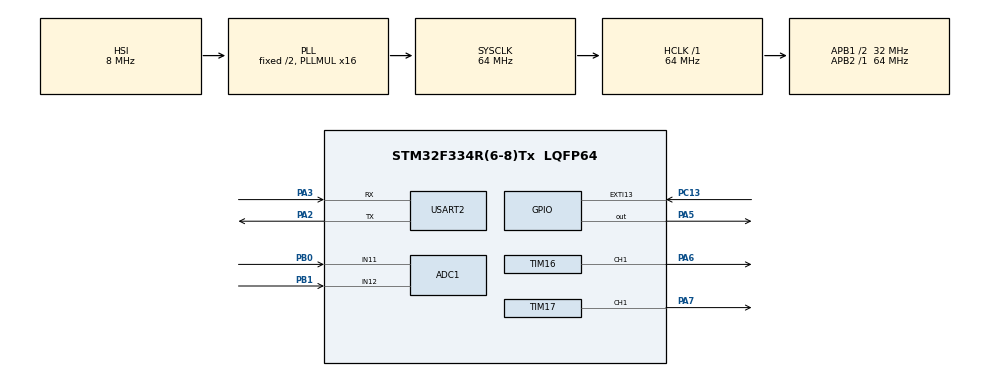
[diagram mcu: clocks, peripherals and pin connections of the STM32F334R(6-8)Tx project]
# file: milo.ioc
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ADC1.Channel-0\#ChannelRegularConversion=ADC_CHANNEL_11
ADC1.ContinuousConvMode=DISABLE
ADC1.NbrOfConversion=1
ADC1.NbrOfConversionFlag=1
ADC1.SubFamily=STM32F334x8
ADC1.master=1
Dma.Request0=USART2_RX
Dma.Request1=USART2_TX
Dma.USART2_RX.0.Direction=DMA_PERIPH_TO_MEMORY
Dma.USART2_RX.0.Instance=DMA1_Channel6
Dma.USART2_RX.0.MemDataAlignment=DMA_MDATAALIGN_BYTE
Dma.USART2_RX.0.MemInc=DMA_MINC_ENABLE
Dma.USART2_RX.0.Mode=DMA_NORMAL
Dma.USART2_RX.0.PeriphDataAlignment=DMA_PDATAALIGN_BYTE
Dma.USART2_RX.0.PeriphInc=DMA_PINC_DISABLE
Dma.USART2_RX.0.Priority=DMA_PRIORITY_LOW
Dma.USART2_TX.1.Direction=DMA_MEMORY_TO_PERIPH
Dma.USART2_TX.1.Instance=DMA1_Channel7
Dma.USART2_TX.1.MemDataAlignment=DMA_MDATAALIGN_BYTE
Dma.USART2_TX.1.MemInc=DMA_MINC_ENABLE
Dma.USART2_TX.1.Mode=DMA_NORMAL
Dma.USART2_TX.1.PeriphDataAlignment=DMA_PDATAALIGN_BYTE
Dma.USART2_TX.1.PeriphInc=DMA_PINC_DISABLE
Dma.USART2_TX.1.Priority=DMA_PRIORITY_LOW
Mcu.Family=STM32F3
Mcu.Name=STM32F334R(6-8)Tx
Mcu.Package=LQFP64
NVIC.DMA1_Channel6_IRQn=true\:0\:0\:false\:false\:true\:false\:true
NVIC.DMA1_Channel7_IRQn=true\:0\:0\:false\:false\:true\:false\:true
NVIC.PriorityGroup=NVIC_PRIORITYGROUP_0
NVIC.USART2_IRQn=true\:0\:0\:false\:false\:true\:true\:true
PA13.Mode=Serial_Wire
PA13.Signal=SYS_JTMS-SWDIO
PA14.Mode=Serial_Wire
PA14.Signal=SYS_JTCK-SWCLK
PA2.GPIO_ModeDefaultPP=GPIO_MODE_AF_PP
PA2.GPIO_PuPd=GPIO_NOPULL
PA2.GPIO_Speed=GPIO_SPEED_FREQ_HIGH
PA2.Mode=Asynchronous
PA2.Signal=USART2_TX
PA3.GPIO_ModeDefaultPP=GPIO_MODE_AF_PP
PA3.GPIO_PuPd=GPIO_NOPULL
PA3.GPIO_Speed=GPIO_SPEED_FREQ_HIGH
PA3.Mode=Asynchronous
PA3.Signal=USART2_RX
PA5.GPIO_ModeDefaultOutputPP=GPIO_MODE_OUTPUT_PP
PA5.GPIO_PuPd=GPIO_NOPULL
PA5.GPIO_Speed=GPIO_SPEED_FREQ_LOW
PA5.PinState=GPIO_PIN_RESET
PA5.Signal=GPIO_Output
PA6.GPIO_ModeDefaultPP=GPIO_MODE_AF_PP
PA6.GPIO_PuPd=GPIO_NOPULL
PA6.GPIO_Speed=GPIO_SPEED_FREQ_LOW
PA6.Signal=S_TIM16_CH1
PA7.GPIO_ModeDefaultPP=GPIO_MODE_AF_PP
PA7.GPIO_PuPd=GPIO_NOPULL
PA7.GPIO_Speed=GPIO_SPEED_FREQ_LOW
PA7.Signal=S_TIM17_CH1
PB0.Mode=IN11-Single-Ended
PB0.Signal=ADC1_IN11
PB1.Mode=IN12-Single-Ended
PB1.Signal=ADC1_IN12
PB3.Signal=SYS_JTDO-TRACESWO
PC13.GPIO_ModeDefaultEXTI=GPIO_MODE_IT_RISING
PC13.GPIO_PuPd=GPIO_NOPULL
PC13.Signal=GPXTI13
PC14\ /\ OSC32_IN.Mode=LSE-External-Oscillator
PC14\ /\ OSC32_IN.Signal=RCC_OSC32_IN
PC15\ /\ OSC32_OUT.Mode=LSE-External-Oscillator
PC15\ /\ OSC32_OUT.Signal=RCC_OSC32_OUT
PF0\ /\ OSC_IN.Mode=HSE-External-Clock-Source
PF0\ /\ OSC_IN.Signal=RCC_OSC_IN
PF1\ /\ OSC_OUT.Signal=RCC_OSC_OUT
ProjectManager.HeapSize=0x200
ProjectManager.StackSize=0x400
ProjectManager.TargetToolchain=STM32CubeIDE
RCC.AHBFreq_Value=64000000
RCC.APB1CLKDivider=RCC_HCLK_DIV2
RCC.APB1Freq_Value=32000000
RCC.APB1TimFreq_Value=64000000
RCC.APB2Freq_Value=64000000
RCC.APB2TimFreq_Value=64000000
RCC.CortexFreq_Value=64000000
RCC.FLatency-AdvancedSettings=FLASH_LATENCY_2
RCC.HCLKFreq_Value=64000000
RCC.HSE_VALUE=8000000
RCC.HSI_VALUE=8000000
RCC.PLLMUL=RCC_PLL_MUL16
RCC.SYSCLKFreq_VALUE=64000000
RCC.SYSCLKSourceVirtual=RCC_SYSCLKSOURCE_PLLCLK
SH.S_TIM16_CH1.0=TIM16_CH1,PWM Generation1 CH1
SH.S_TIM17_CH1.0=TIM17_CH1,PWM Generation1 CH1
TIM16.AutoReloadPreload=TIM_AUTORELOAD_PRELOAD_ENABLE
TIM16.Channel=TIM_CHANNEL_1
TIM16.OCFastMode_PWM=TIM_OCFAST_ENABLE
TIM16.Period=3029
TIM16.Prescaler=63
TIM17.AutoReloadPreload=TIM_AUTORELOAD_PRELOAD_ENABLE
TIM17.Channel=TIM_CHANNEL_1
TIM17.OCFastMode_PWM=TIM_OCFAST_ENABLE
TIM17.Period=3029
TIM17.Prescaler=63
USART2.VirtualMode-Asynchronous=VM_ASYNC
VP_TIM16_VS_ClockSourceINT.Mode=Enable_Timer
VP_TIM17_VS_ClockSourceINT.Mode=Enable_Timer
board=NUCLEO-F334R8

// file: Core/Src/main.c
/* USER CODE BEGIN Header */
/**
  ******************************************************************************
  * @file           : main.c
  * @brief          : Main program body
  ******************************************************************************
  * @attention
  *
  * <h2><center>&copy; Copyright (c) 2021 STMicroelectronics.
  * All rights reserved.</center></h2>
  *
  * This software component is licensed by ST under BSD 3-Clause license,
  * the "License"; You may not use this file except in compliance with the
  * License. You may obtain a copy of the License at:
  *                        opensource.org/licenses/BSD-3-Clause
  *
  ******************************************************************************
  */
/* USER CODE END Header */
#include "main.h"
#include "adc.h"
#include "dma.h"
#include "tim.h"
#include "usart.h"
#include "gpio.h"

/* USER CODE BEGIN Includes */
#include "servo.h"
#include <stdio.h>
/* USER CODE END Includes */

void SystemClock_Config(void);

/* USER CODE BEGIN 0 */
int
_write(int file, uint8_t *ptr, int len) {
	HAL_UART_Transmit(&huart2, ptr, len, 100);
	return len;
}

void ADC_SetActiveChannel(ADC_HandleTypeDef *hadc, uint32_t ADC_Channel) {
	ADC_ChannelConfTypeDef sConfig = { 0 };
	sConfig.Channel = ADC_Channel;
	sConfig.Rank = 1;
	sConfig.SamplingTime = ADC_SAMPLETIME_1CYCLE_5;
	if (HAL_ADC_ConfigChannel(hadc, &sConfig) != HAL_OK) {
		Error_Handler();
	}
}
/* USER CODE END 0 */

int main(void)
{
  /* USER CODE BEGIN 1 */
	//ADC_HandleTypeDef hadc1;
  /* USER CODE END 1 */

  /* MCU Configuration--------------------------------------------------------*/

  /* Reset of all peripherals, Initializes the Flash interface and the Systick. */
  HAL_Init();

  /* Configure the system clock */
  SystemClock_Config();

  /* Initialize all configured peripherals */
  MX_GPIO_Init();
  MX_DMA_Init();
  MX_USART2_UART_Init();
  MX_TIM16_Init();
  MX_ADC1_Init();
  MX_TIM17_Init();
  /* USER CODE BEGIN 2 */
  HAL_TIM_PWM_Start(&htim16, TIM_CHANNEL_1);
  HAL_TIM_PWM_Start(&htim17, TIM_CHANNEL_1);
  HAL_ADC_Start(&hadc1);
  uint16_t adc_value[2] = { 0 };
  servo_t ft[2] = { 0 };
  servo_init(&ft[0], htim16, TIM_CHANNEL_1, 0, 0, 1800, 500, 2500);
  servo_init(&ft[1], htim17, TIM_CHANNEL_1, 0, 0, 1800, 500, 2500);
  /* USER CODE END 2 */

  /* Infinite loop */
  /* USER CODE BEGIN WHILE */
  while (1)
  {
	  //if (adc_flag == 1) {
	  /*
	  for(int i = 0; i < 1800; i++) {

		  servo_set(&sg, i, 0);
		  HAL_Delay(10);
	  }
		*/
	  /*
		if (HAL_ADC_PollForConversion(&hadc1, 10) == HAL_OK) {
			adc_value[0] = HAL_ADC_GetValue(&hadc1);

			HAL_ADC_Start(&hadc1);
			int tmp = adc_value / 2.25;
			printf("%d\r\n", tmp);
			//servo_set(&sg, tmp, 0);
		  //set_ang_old(tmp,0);
		  //adc_flag = 0;
		}
		HAL_Delay(100);
		*/
	  if (HAL_ADC_PollForConversion(&hadc1, 10) == HAL_OK) {
		  adc_value[0] = HAL_ADC_GetValue(&hadc1);
		  ADC_SetActiveChannel(&hadc1, ADC_CHANNEL_12);
		  HAL_ADC_Start(&hadc1);
	  }
	  if (HAL_ADC_PollForConversion(&hadc1, 10) == HAL_OK) {
		  adc_value[1] = HAL_ADC_GetValue(&hadc1);
		  ADC_SetActiveChannel(&hadc1, ADC_CHANNEL_11);
		  HAL_ADC_Start(&hadc1);
	  }
	  int tmp[2];
	  tmp[0] = adc_value[0] / 2.25;
	  tmp[1] = adc_value[1] / 2.25;
	  servo_set(&ft[0], tmp[0], 0);
	  servo_set(&ft[1], tmp[1], 0);
	  printf("%d %d\r\n", adc_value[0], adc_value[1]);
	  HAL_Delay(100);

    /* USER CODE END WHILE */

  }
}

void SystemClock_Config(void)
{
  RCC_OscInitTypeDef RCC_OscInitStruct = {0};
  RCC_ClkInitTypeDef RCC_ClkInitStruct = {0};
  RCC_PeriphCLKInitTypeDef PeriphClkInit = {0};

  /** Initializes the RCC Oscillators according to the specified parameters
  * in the RCC_OscInitTypeDef structure.
  */
  RCC_OscInitStruct.OscillatorType = RCC_OSCILLATORTYPE_HSI;
  RCC_OscInitStruct.HSIState = RCC_HSI_ON;
  RCC_OscInitStruct.HSICalibrationValue = RCC_HSICALIBRATION_DEFAULT;
  RCC_OscInitStruct.PLL.PLLState = RCC_PLL_ON;
  RCC_OscInitStruct.PLL.PLLSource = RCC_PLLSOURCE_HSI;
  RCC_OscInitStruct.PLL.PLLMUL = RCC_PLL_MUL16;
  if (HAL_RCC_OscConfig(&RCC_OscInitStruct) != HAL_OK)
  {
    Error_Handler();
  }
  /** Initializes the CPU, AHB and APB buses clocks
  */
  RCC_ClkInitStruct.ClockType = RCC_CLOCKTYPE_HCLK|RCC_CLOCKTYPE_SYSCLK
                              |RCC_CLOCKTYPE_PCLK1|RCC_CLOCKTYPE_PCLK2;
  RCC_ClkInitStruct.SYSCLKSource = RCC_SYSCLKSOURCE_PLLCLK;
  RCC_ClkInitStruct.AHBCLKDivider = RCC_SYSCLK_DIV1;
  RCC_ClkInitStruct.APB1CLKDivider = RCC_HCLK_DIV2;
  RCC_ClkInitStruct.APB2CLKDivider = RCC_HCLK_DIV1;

  if (HAL_RCC_ClockConfig(&RCC_ClkInitStruct, FLASH_LATENCY_2) != HAL_OK)
  {
    Error_Handler();
  }
  PeriphClkInit.PeriphClockSelection = RCC_PERIPHCLK_ADC12;
  PeriphClkInit.Adc12ClockSelection = RCC_ADC12PLLCLK_DIV1;
  if (HAL_RCCEx_PeriphCLKConfig(&PeriphClkInit) != HAL_OK)
  {
    Error_Handler();
  }
}

void Error_Handler(void)
{
}

/************************ (C) COPYRIGHT STMicroelectronics *****END OF FILE****/
